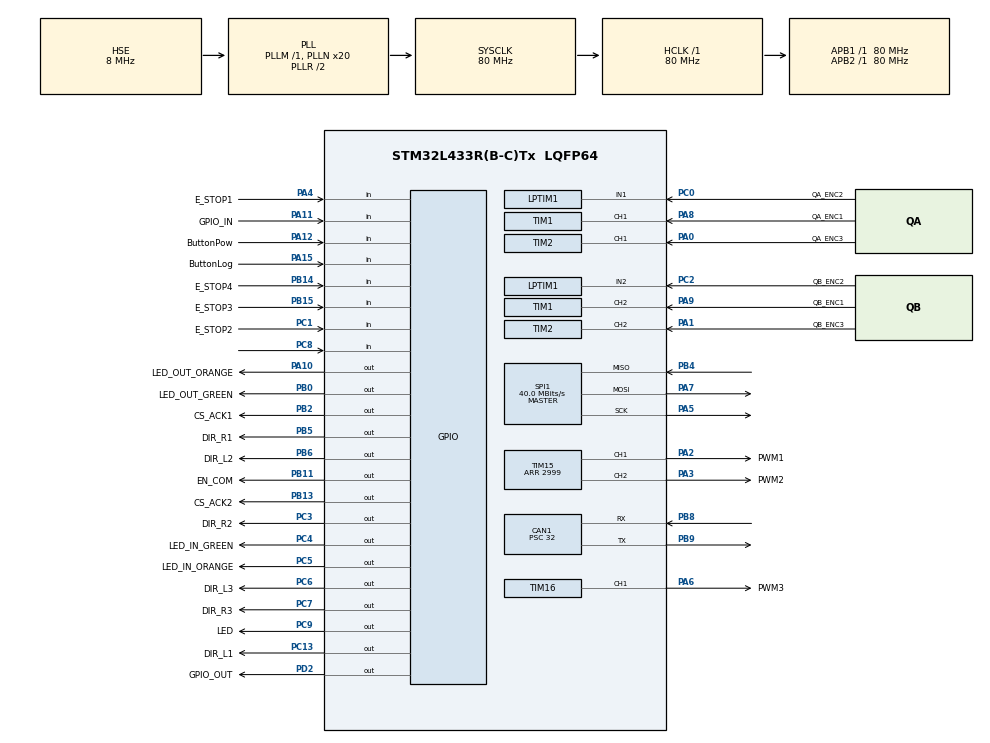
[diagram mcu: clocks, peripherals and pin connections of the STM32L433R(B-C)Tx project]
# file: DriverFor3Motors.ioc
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CAN1.ABOM=ENABLE
CAN1.BS1=CAN_BS1_3TQ
CAN1.CalculateBaudRate=500000
CAN1.CalculateTimeBit=2000
CAN1.CalculateTimeQuantum=400.0
CAN1.NART=ENABLE
CAN1.Prescaler=32
CAN1.SJW=CAN_SJW_3TQ
LPTIM1.ULPClockPolarity=LPTIM_CLOCKPOLARITY_RISING
LPTIM2.ClockPrescaler=LPTIM_PRESCALER_DIV32
Mcu.Family=STM32L4
Mcu.Name=STM32L433R(B-C)Tx
Mcu.Package=LQFP64
NVIC.CAN1_RX0_IRQn=true\:3\:0\:true\:false\:true\:true\:true\:true
NVIC.CAN1_TX_IRQn=true\:8\:0\:true\:false\:true\:true\:true\:true
NVIC.LPTIM2_IRQn=true\:9\:0\:true\:false\:true\:true\:true\:true
NVIC.PriorityGroup=NVIC_PRIORITYGROUP_4
NVIC.TIM1_UP_TIM16_IRQn=true\:6\:0\:true\:false\:true\:true\:true\:true
NVIC.TIM6_DAC_IRQn=true\:4\:0\:true\:false\:true\:true\:true\:true
NVIC.TIM7_IRQn=true\:5\:0\:true\:false\:true\:true\:true\:true
PA0.GPIO_Label=QA_ENC3
PA0.Signal=S_TIM2_CH1
PA1.GPIO_Label=QB_ENC3
PA1.Signal=S_TIM2_CH2
PA10.GPIO_Label=LED_OUT_ORANGE
PA10.Signal=GPIO_Output
PA11.GPIO_Label=GPIO_IN
PA11.Signal=GPIO_Input
PA12.GPIO_Label=ButtonPow
PA12.Signal=GPIO_Input
PA13\ (JTMS-SWDIO).Signal=SYS_JTMS-SWDIO
PA14\ (JTCK-SWCLK).Signal=SYS_JTCK-SWCLK
PA15\ (JTDI).GPIO_Label=ButtonLog
PA15\ (JTDI).Signal=GPIO_Input
PA2.GPIO_Label=PWM1
PA2.Signal=S_TIM15_CH1
PA3.GPIO_Label=PWM2
PA3.Signal=S_TIM15_CH2
PA4.GPIO_Label=E_STOP1
PA4.Signal=GPIO_Input
PA5.Mode=Full_Duplex_Master
PA5.Signal=SPI1_SCK
PA6.GPIO_Label=PWM3
PA6.Signal=S_TIM16_CH1
PA7.Mode=Full_Duplex_Master
PA7.Signal=SPI1_MOSI
PA8.GPIO_Label=QA_ENC1
PA8.Signal=S_TIM1_CH1
PA9.GPIO_Label=QB_ENC1
PA9.Signal=S_TIM1_CH2
PB0.GPIO_Label=LED_OUT_GREEN
PB0.Signal=GPIO_Output
PB11.GPIO_Label=EN_COM
PB11.Signal=GPIO_Output
PB13.GPIO_Label=CS_ACK2
PB13.Signal=GPIO_Output
PB14.GPIO_Label=E_STOP4
PB14.Signal=GPIO_Input
PB15.GPIO_Label=E_STOP3
PB15.Signal=GPIO_Input
PB2.GPIO_Label=CS_ACK1
PB2.Signal=GPIO_Output
PB3\ (JTDO-TRACESWO).Signal=SYS_JTDO-SWO
PB4\ (NJTRST).Mode=Full_Duplex_Master
PB4\ (NJTRST).Signal=SPI1_MISO
PB5.GPIO_Label=DIR_R1
PB5.Signal=GPIO_Output
PB6.GPIO_Label=DIR_L2
PB6.Signal=GPIO_Output
PB8.Mode=CAN_Activate
PB8.Signal=CAN1_RX
PB9.Mode=CAN_Activate
PB9.Signal=CAN1_TX
PC0.GPIO_Label=QA_ENC2
PC0.Mode=Encoder_mode_occur1
PC0.Signal=LPTIM1_IN1
PC1.GPIO_Label=E_STOP2
PC1.Signal=GPIO_Input
PC13.GPIO_Label=DIR_L1 
PC13.Signal=GPIO_Output
PC2.GPIO_Label=QB_ENC2
PC2.Mode=Encoder_mode_occur1
PC2.Signal=LPTIM1_IN2
PC3.GPIO_Label=DIR_R2
PC3.Signal=GPIO_Output
PC4.GPIO_Label=LED_IN_GREEN
PC4.Signal=GPIO_Output
PC5.GPIO_Label=LED_IN_ORANGE
PC5.Signal=GPIO_Output
PC6.GPIO_Label=DIR_L3
PC6.Signal=GPIO_Output
PC7.GPIO_Label=DIR_R3
PC7.Signal=GPIO_Output
PC8.Signal=GPIO_Input
PC9.GPIO_Label=LED
PC9.Signal=GPIO_Output
PD2.GPIO_Label=GPIO_OUT
PD2.Signal=GPIO_Output
PH0-OSC_IN\ (PH0).Mode=HSE-External-Oscillator
PH0-OSC_IN\ (PH0).Signal=RCC_OSC_IN
PH1-OSC_OUT\ (PH1).Mode=HSE-External-Oscillator
PH1-OSC_OUT\ (PH1).Signal=RCC_OSC_OUT
ProjectManager.HeapSize=0x200
ProjectManager.StackSize=0x400
ProjectManager.TargetToolchain=STM32CubeIDE
RCC.ADCFreq_Value=32000000
RCC.AHBFreq_Value=80000000
RCC.APB1Freq_Value=80000000
RCC.APB1TimFreq_Value=80000000
RCC.APB2Freq_Value=80000000
RCC.APB2TimFreq_Value=80000000
RCC.CortexFreq_Value=80000000
RCC.HCLKFreq_Value=80000000
RCC.HSE_VALUE=8000000
RCC.HSI48_VALUE=48000000
RCC.HSI_VALUE=16000000
RCC.LSE_VALUE=32768
RCC.MSI_VALUE=4000000
RCC.PLLN=20
RCC.PLLSourceVirtual=RCC_PLLSOURCE_HSE
RCC.SYSCLKFreq_VALUE=80000000
RCC.SYSCLKSource=RCC_SYSCLKSOURCE_PLLCLK
RCC.USBFreq_Value=32000000
RCC.VCOOutputFreq_Value=160000000
SH.S_TIM15_CH1.0=TIM15_CH1,PWM Generation1 CH1
SH.S_TIM15_CH2.0=TIM15_CH2,PWM Generation2 CH2
SH.S_TIM16_CH1.0=TIM16_CH1,PWM Generation1 CH1
SH.S_TIM1_CH1.0=TIM1_CH1,Encoder_Interface
SH.S_TIM1_CH2.0=TIM1_CH2,Encoder_Interface
SH.S_TIM2_CH1.0=TIM2_CH1,Encoder_Interface
SH.S_TIM2_CH2.0=TIM2_CH2,Encoder_Interface
SPI1.BaudRatePrescaler=SPI_BAUDRATEPRESCALER_2
SPI1.CalculateBaudRate=40.0 MBits/s
SPI1.DataSize=SPI_DATASIZE_8BIT
SPI1.Direction=SPI_DIRECTION_2LINES
SPI1.Mode=SPI_MODE_MASTER
SPI1.VirtualType=VM_MASTER
TIM1.Period=65535
TIM1.Prescaler=0
TIM15.Channel-PWM\ Generation1\ CH1=TIM_CHANNEL_1
TIM15.Channel-PWM\ Generation2\ CH2=TIM_CHANNEL_2
TIM15.Period=2999
TIM16.Channel=TIM_CHANNEL_1
TIM16.Period=2999
TIM6.Period=475
TIM6.Prescaler=13999
TIM7.Period=200
TIM7.Prescaler=1999
VP_LPTIM2_VS_LPTIM_counterModeInternalClock.Mode=Counts__internal_clock_event_00
VP_TIM16_VS_ClockSourceINT.Mode=Enable_Timer
VP_TIM6_VS_ClockSourceINT.Mode=Enable_Timer
VP_TIM7_VS_ClockSourceINT.Mode=Enable_Timer
board=custom

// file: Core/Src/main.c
/* USER CODE BEGIN Header */
/**
  ******************************************************************************
  * @file           : main.c
  * @brief          : Main program body
  ******************************************************************************
  * @attention
  *
  * Copyright (c) 2022 STMicroelectronics.
  * All rights reserved.
  *
  * This software is licensed under terms that can be found in the LICENSE file
  * in the root directory of this software component.
  * If no LICENSE file comes with this software, it is provided AS-IS.
  *
  ******************************************************************************
  */
/* USER CODE END Header */
#include "main.h"
#include "can.h"
#include "lptim.h"
#include "spi.h"
#include "tim.h"
#include "gpio.h"

/* USER CODE BEGIN Includes */
#include <stdbool.h>
#include "Emergency_button.h"
/* USER CODE END Includes */

/* USER CODE BEGIN PV */
extern	CAN_TxHeaderTypeDef   TxHeader;
extern	uint32_t              TxMailbox;

extern	uint8_t ReceivedData;
extern	CAN_FilterTypeDef canfil;

extern	CAN_RxHeaderTypeDef   RxHeader;
extern	uint8_t RxData[8];

extern uint8_t estop;

volatile uint8_t Status = 0;
volatile uint8_t breakActivition = 0;

uint8_t switchForGovernors = 0;
uint8_t driver_encoderStatus = 0;
volatile uint8_t measurementTrigger[5]={0};

volatile uint8_t CAN_state = 0;
volatile uint8_t CAN_MainState = 0;
uint8_t CANsendingState = 0;
volatile uint8_t messageConfirmation=0;

struct PI governorMechanicPart_FIRST = {0};
struct PI *mechanicPI_FIRST = &governorMechanicPart_FIRST;

struct PI governorMechanicPart_SECOND = {0};
struct PI *mechanicPI_SECOND = &governorMechanicPart_SECOND;

struct PI governorMechanicPart_THIRD = {0};
struct PI *mechanicPI_THIRD = &governorMechanicPart_THIRD;

volatile bool isConnecting = false;
volatile uint16_t cnt_connecting = 0;

volatile uint8_t prev_velocity_cnt = 0;
volatile uint8_t velocity_cnt = 1;

volatile uint8_t tab_id[20];
volatile uint8_t test_id[20];
/*10Hz*/
uint32_t wait;
uint8_t* ptrFloat;
uint8_t  TxData[8];

uint16_t test = 0;
float test_velocity = 0;
float parameter_rpm_scale = 0;
float parameter_rpm_scale_en = 0;
uint8_t type_of_set_pwm = 0;
float parameter_motor_vel_A[NUMBER_OF_PARAMETERS] = {0};
float parameter_motor_vel_B[NUMBER_OF_PARAMETERS] = {0};
float parameter_motor_vel_C[NUMBER_OF_PARAMETERS] = {0};

//uint16_t precision;
uint32_t test_data[6];
uint32_t error_num[51];
/* USER CODE END PV */

void SystemClock_Config(void);

/* USER CODE BEGIN 0 */
void HAL_CAN_RxFifo0MsgPendingCallback(CAN_HandleTypeDef *hcan);

uint8_t Error_check(){
	uint8_t error = ERROR_OK;
	if(parameter_rpm_scale == 0){
		error = ERROR_NO_INIT;
	}
	if(parameter_rpm_scale_en == 0){
		error = ERROR_NO_INIT;
	}
	if(error == ERROR_NO_INIT){
		measurementTrigger[0] = 1;
	}
	return error;
}

struct NewStruct{
	uint8_t RData : 8;
	float temp;
} __attribute__((packed));

union toFloat{
	uint8_t data[8];
	struct NewStruct unitVar;
};
//void TestDataIncrement(void){
//	if(test_data[0] == 0xFFFFFFFF){
//		test_data[0] = 0;
//		test_data[1]++;
//	}else{
//		test_data[0]++;
//	}
//}

//#ifdef RIGHT
//void HAL_LPTIM_AutoReloadMatchCallback(LPTIM_HandleTypeDef *hlptim){ //testowe cykliczne wiadomości
//	if(hlptim == &hlptim2){
//		TxHeader.DLC = 8;
//		TxHeader.StdId = TEST_ID;
//		//test_data[0] = 5000;
//		TxData[0] = (uint8_t)test_data[0];
//		TxData[1] = (uint8_t)(test_data[0] >> 8);
//		TxData[2] = (uint8_t)(test_data[0] >> 16);
//		TxData[3] = (uint8_t)(test_data[0] >> 24);
//		TxData[4] = (uint8_t)test_data[1];
//		TxData[5] = (uint8_t)(test_data[1] >> 8);
//		TxData[6] = (uint8_t)(test_data[1] >> 16);
//		TxData[7] = (uint8_t)(test_data[1] >> 24);
//		if(HAL_CAN_AddTxMessage(&hcan1, &TxHeader, TxData, &TxMailbox)!= HAL_OK){
//			test_data[3]++;
//		}
//		 __asm("NOP");__asm("NOP");__asm("NOP");__asm("NOP");__asm("NOP");
//		 __asm("NOP");__asm("NOP");__asm("NOP");__asm("NOP");__asm("NOP");
//		TestDataIncrement();
//	}
//}
//void HAL_CAN_TxMailbox0CompleteCallback(CAN_HandleTypeDef *hcan){
//	test_data[2]++;
//}
//void HAL_CAN_TxMailbox1CompleteCallback(CAN_HandleTypeDef *hcan){
//	test_data[2]++;
//}
//void HAL_CAN_TxMailbox2CompleteCallback(CAN_HandleTypeDef *hcan){
//	test_data[2]++;
//}
//
//void HAL_CAN_TxMailbox0AbortCallback(CAN_HandleTypeDef *hcan){
//	test_data[3]++;
//}
//void HAL_CAN_TxMailbox1AbortCallback(CAN_HandleTypeDef *hcan){
//	test_data[3]++;
//}
//void HAL_CAN_TxMailbox2AbortCallback(CAN_HandleTypeDef *hcan){
//	test_data[3]++;
//}
//#endif

/* USER CODE END 0 */

int main(void)
{

  /* MCU Configuration--------------------------------------------------------*/

  /* Reset of all peripherals, Initializes the Flash interface and the Systick. */
  HAL_Init();

  /* Configure the system clock */
  SystemClock_Config();

  /* Initialize all configured peripherals */
  MX_GPIO_Init();
  MX_CAN1_Init();
  MX_SPI1_Init();
  MX_TIM1_Init();
  MX_TIM2_Init();
  MX_TIM6_Init();
  MX_TIM7_Init();
  MX_LPTIM1_Init();
  MX_TIM15_Init();
  MX_TIM16_Init();
  MX_LPTIM2_Init();
  /* USER CODE BEGIN 2 */

	HAL_TIM_Base_Start_IT(&htim6);
	HAL_TIM_Base_Start_IT(&htim7);

	HAL_TIM_Encoder_Start(&htim1, TIM_CHANNEL_ALL);
	HAL_LPTIM_Encoder_Start(&hlptim1, 65535);
	HAL_TIM_Encoder_Start(&htim2, TIM_CHANNEL_ALL);

	HAL_TIM_PWM_Start(&htim15, TIM_CHANNEL_1);
	HAL_TIM_PWM_Start(&htim15, TIM_CHANNEL_2);
	HAL_TIM_PWM_Start(&htim16, TIM_CHANNEL_1);
	test_data[0] = 0;
	test_data[1] = 0;
	test_data[2] = 0;
	test_data[3] = 0;
	test_data[4] = 0;
	test_data[5] = 0;
	error_num[0] = 0;

	//lptim f=2,5M/wartość poniżej

//	HAL_LPTIM_Counter_Start_IT(&hlptim2, 1599); //714

  /* USER CODE END 2 */

  /* Infinite loop */
  while (1)
  {

    /* USER CODE BEGIN 3 */

		if (CheckPowerStatus() == POWER_OFF)
		{
			mechanicPI_FIRST->requireValue =  0;
			mechanicPI_SECOND->requireValue = 0;
			mechanicPI_THIRD->requireValue = 0;
		}
		if(measurementTrigger[0]==1){
			measurementTrigger[0] = 0;
			TxHeader.StdId = ERROR_ID;
			TxHeader.DLC = 3;
			TxData[0] = 0;
			TxData[1] = 0;
			TxData[2] = 0;
//			uint8_t count_no_parameter = 0;
//			for(int i = 0; i < NUMBER_OF_PARAMETERS; i++){
//				if(parameter_motor_vel_C[i] == 0){
//					count_no_parameter++;
//					TxData[0] |= 0x80;
//				}
//			}
//			if(count_no_parameter == NUMBER_OF_PARAMETERS){
//				RxData[2] |= 0xF0;
//			}

			if(parameter_rpm_scale == 0){
				TxData[1] |= 0x01;
				TxData[0] |= 0x10;
			}
			if(parameter_rpm_scale_en == 0){
				TxData[1] |= 0x02;
				TxData[0] |= 0x10;
			}
			if(parameter_rpm_scale == 0 && parameter_rpm_scale_en == 0){
				TxData[1] |= 0x0F;
			}

			 HAL_CAN_AddTxMessage(&hcan1, &TxHeader, TxData, &TxMailbox);
			 __asm("NOP");__asm("NOP");__asm("NOP");__asm("NOP");__asm("NOP");
			 __asm("NOP");__asm("NOP");__asm("NOP");__asm("NOP");__asm("NOP");
			TxHeader.DLC = 8;

		}

		if(measurementTrigger[5]==1){//nowy format
			measurementTrigger[5]=0;
			TxHeader.DLC = 7;
			uint16_t tempVobr;
			float max_rpm;
			max_rpm = ((2 << 15) - 1)/ parameter_rpm_scale_en;
			TxHeader.StdId = DRIVERWHEELVEL_ID;
			if(mechanicPI_THIRD->Vobr < max_rpm || mechanicPI_SECOND->Vobr < max_rpm || mechanicPI_FIRST->Vobr < max_rpm){
				tempVobr = (uint16_t)(mechanicPI_THIRD->Vobr * parameter_rpm_scale_en * (mechanicPI_THIRD->Vobr < 0 ? -1: 1));
				TxData[6] = 0x7F & (uint8_t)(tempVobr >> 8);
				TxData[5] = (uint8_t)(tempVobr);
				if(mechanicPI_THIRD->Vobr < 0){//dir
					TxData[6] |= 0x80;
				}
				tempVobr = (uint16_t)(mechanicPI_SECOND->Vobr * parameter_rpm_scale_en * (mechanicPI_SECOND->Vobr < 0 ? -1: 1));
				TxData[4] = 0x7F & (uint8_t)(tempVobr >> 8);
				TxData[3] = (uint8_t)(tempVobr);
				if(mechanicPI_SECOND->Vobr < 0){//dir
					TxData[4] |= 0x80;
				}
				tempVobr = (uint16_t)(mechanicPI_FIRST->Vobr * parameter_rpm_scale_en * (mechanicPI_FIRST->Vobr < 0 ? -1: 1));
				TxData[2] = 0x7F & (uint8_t)(tempVobr >> 8);
				TxData[1] = (uint8_t)(tempVobr);
				if(mechanicPI_FIRST->Vobr < 0){//dir
					TxData[2] |= 0x80;
				}
				TxData[0] = 0;
			}else{
				tempVobr = (uint16_t)(mechanicPI_THIRD->Vobr * parameter_rpm_scale_en / 5 * (mechanicPI_THIRD->Vobr < 0 ? -1: 1));
				TxData[6] = 0x7F & (uint8_t)(tempVobr >> 8);
				TxData[5] = (uint8_t)(tempVobr);
				if(mechanicPI_THIRD->Vobr < 0){//dir
				TxData[6] |= 0x80;
				}
				tempVobr = (uint16_t)(mechanicPI_SECOND->Vobr * parameter_rpm_scale_en / 5 * (mechanicPI_SECOND->Vobr < 0 ? -1: 1));
				TxData[4] = 0x7F & (uint8_t)(tempVobr >> 8);
				TxData[3] = (uint8_t)(tempVobr);
				if(mechanicPI_SECOND->Vobr < 0){//dir
					TxData[4] |= 0x80;
				}
				tempVobr = (uint16_t)(mechanicPI_FIRST->Vobr * parameter_rpm_scale_en / 5 * (mechanicPI_FIRST->Vobr < 0 ? -1: 1));
				TxData[2] = 0x7F & (uint8_t)(tempVobr >> 8);
				TxData[1] = (uint8_t)(tempVobr);
				if(mechanicPI_FIRST->Vobr < 0){//dir
					TxData[2] |= 0x80;
				}
				TxData[0] = 0x01;
			}
			 HAL_CAN_AddTxMessage(&hcan1, &TxHeader, TxData, &TxMailbox);
			 __asm("NOP");__asm("NOP");__asm("NOP");__asm("NOP");__asm("NOP");
			 __asm("NOP");__asm("NOP");__asm("NOP");__asm("NOP");__asm("NOP");
			 TxHeader.DLC = 8;
		}

//		if(measurementTrigger[0]==1){
//
//			uint8_t  TxData[8] = {};
//			uint8_t* ptrFloat = NULL;
//			measurementTrigger[0]=0;
//
//			ptrFloat =(uint8_t*)&(mechanicPI_FIRST->Vobr);
//
//			TxHeader.StdId = DRIVERWHEEL1VEL;
//			TxData[0] = *(ptrFloat);
//			TxData[1] = *(ptrFloat+1);
//			TxData[2] = *(ptrFloat+2);
//			TxData[3] = *(ptrFloat+3);
//			TxData[4] = 0;
//			TxData[5] = 0;
//			TxData[6] = 0;
//			TxData[7] = 0;
//			HAL_CAN_AddTxMessage(&hcan1, &TxHeader, TxData, &TxMailbox);
//			__asm("NOP");__asm("NOP");__asm("NOP");__asm("NOP");__asm("NOP");
//			__asm("NOP");__asm("NOP");__asm("NOP");__asm("NOP");__asm("NOP");
//
//
//			 HAL_GPIO_TogglePin(LED_GPIO_Port, LED_Pin);
//		}
//
//		if(measurementTrigger[1]==1){
//
//			uint8_t  TxData[8] = {};
//			uint8_t* ptrFloat = NULL;
//			measurementTrigger[1]=0;
//
//			ptrFloat = (uint8_t*)&(mechanicPI_SECOND->Vobr);
//
//			TxHeader.StdId = DRIVERWHEEL2VEL;
//			TxData[0] = *(ptrFloat);
//			TxData[1] = *(ptrFloat+1);
//			TxData[2] = *(ptrFloat+2);
//			TxData[3] = *(ptrFloat+3);
//			TxData[4] = 0;
//			TxData[5] = 0;
//			TxData[6] = 0;
//			TxData[7] = 0;
//			test_velocity +=1;
//			HAL_CAN_AddTxMessage(&hcan1, &TxHeader, TxData, &TxMailbox);
//			__asm("NOP");__asm("NOP");__asm("NOP");__asm("NOP");__asm("NOP");
//			__asm("NOP");__asm("NOP");__asm("NOP");__asm("NOP");__asm("NOP");
//
//		}
//
//		if(measurementTrigger[2]==1){
//
//			uint8_t  TxData[8] = {};
//			uint8_t* ptrFloat = NULL;
//			measurementTrigger[2]=0;
//
//			ptrFloat = (uint8_t*)&(mechanicPI_THIRD->Vobr);
//			TxHeader.StdId = DRIVERWHEEL3VEL;
//			TxData[0] = *(ptrFloat);
//			TxData[1] = *(ptrFloat+1);
//			TxData[2] = *(ptrFloat+2);
//			TxData[3] = *(ptrFloat+3);
//			TxData[4] = 0;
//			TxData[5] = 0;
//			TxData[6] = 0;
//			TxData[7] = 0;
//			HAL_CAN_AddTxMessage(&hcan1, &TxHeader, TxData, &TxMailbox);
//			__asm("NOP");__asm("NOP");__asm("NOP");__asm("NOP");__asm("NOP");
//			__asm("NOP");__asm("NOP");__asm("NOP");__asm("NOP");__asm("NOP");
//
//		}
//
//		if(measurementTrigger[3]==1){
//
//			measurementTrigger[3]=0;
//			uint8_t buttonStatus = CheckPowerStatus();
//
//			TxHeader.StdId = MUSHROOMSTOPVALUE;
//			TxData[0] = buttonStatus;
//			TxData[1] = 0;
//			TxData[2] = 0;
//			TxData[3] = 0;
//			TxData[4] = 0;
//			TxData[5] = 0;
//			TxData[6] = 0;
//			TxData[7] = 0;
//			HAL_CAN_AddTxMessage(&hcan1, &TxHeader, TxData, &TxMailbox);
//			__asm("NOP");__asm("NOP");__asm("NOP");__asm("NOP");__asm("NOP");
//			__asm("NOP");__asm("NOP");__asm("NOP");__asm("NOP");__asm("NOP");
//
//		}

  /* USER CODE END 3 */
  }
}
void SystemClock_Config(void)
{
  RCC_OscInitTypeDef RCC_OscInitStruct = {0};
  RCC_ClkInitTypeDef RCC_ClkInitStruct = {0};

  /** Configure the main internal regulator output voltage
  */
  if (HAL_PWREx_ControlVoltageScaling(PWR_REGULATOR_VOLTAGE_SCALE1) != HAL_OK)
  {
    Error_Handler();
  }

  /** Initializes the RCC Oscillators according to the specified parameters
  * in the RCC_OscInitTypeDef structure.
  */
  RCC_OscInitStruct.OscillatorType = RCC_OSCILLATORTYPE_HSE;
  RCC_OscInitStruct.HSEState = RCC_HSE_ON;
  RCC_OscInitStruct.PLL.PLLState = RCC_PLL_ON;
  RCC_OscInitStruct.PLL.PLLSource = RCC_PLLSOURCE_HSE;
  RCC_OscInitStruct.PLL.PLLM = 1;
  RCC_OscInitStruct.PLL.PLLN = 20;
  RCC_OscInitStruct.PLL.PLLP = RCC_PLLP_DIV7;
  RCC_OscInitStruct.PLL.PLLQ = RCC_PLLQ_DIV2;
  RCC_OscInitStruct.PLL.PLLR = RCC_PLLR_DIV2;
  if (HAL_RCC_OscConfig(&RCC_OscInitStruct) != HAL_OK)
  {
    Error_Handler();
  }

  /** Initializes the CPU, AHB and APB buses clocks
  */
  RCC_ClkInitStruct.ClockType = RCC_CLOCKTYPE_HCLK|RCC_CLOCKTYPE_SYSCLK
                              |RCC_CLOCKTYPE_PCLK1|RCC_CLOCKTYPE_PCLK2;
  RCC_ClkInitStruct.SYSCLKSource = RCC_SYSCLKSOURCE_PLLCLK;
  RCC_ClkInitStruct.AHBCLKDivider = RCC_SYSCLK_DIV1;
  RCC_ClkInitStruct.APB1CLKDivider = RCC_HCLK_DIV1;
  RCC_ClkInitStruct.APB2CLKDivider = RCC_HCLK_DIV1;

  if (HAL_RCC_ClockConfig(&RCC_ClkInitStruct, FLASH_LATENCY_4) != HAL_OK)
  {
    Error_Handler();
  }
}

/* USER CODE BEGIN 4 */

void HAL_CAN_RxFifo0MsgPendingCallback(CAN_HandleTypeDef *hcan){
			static int cnt_test = 0;

		  if (HAL_CAN_GetRxMessage(&hcan1, CAN_RX_FIFO0, &RxHeader, RxData) != HAL_OK)
		  {
			Error_Handler();
		  }

		  isConnecting = true;
		  cnt_connecting= 0;
//#ifdef LEFT
//		  if((RxHeader.StdId == TEST_ID)){
//			  test_data[4] = test_data[5];
//			  test_data[5] = ((uint32_t)RxData[3] << 24)+((uint32_t)RxData[2] << 16)+((uint32_t)RxData[1] << 8)+((uint32_t)RxData[0]);
//			  if((test_data[5] - test_data[4]) != 1){
//				  error_num[0]++;
//				  if(error_num[0] <= 50){
//					  error_num[error_num[0]] = test_data[5];
//				  }
//			  }
//		  }
//#endif
	  if ((RxHeader.StdId == CONTROLVEL_ID)) {
		  ReceivedData = 1;

	  }

		if (RxHeader.StdId == CONTROLVEL_ID){
			if(Error_check() == ERROR_OK) {
				if((RxData[0] & 0x03) == 0){
					type_of_set_pwm = TYPE_SET_RPM;
					mechanicPI_FIRST->requireValue = (RxData[1] & 0x80? 1 : -1)*((float)((RxData[0] & 0xF0 >> 4)|((uint16_t)(RxData[1] & 0x7F) << 4)))/parameter_rpm_scale; //new
					// znak - 7bit 1bajt dane - 0-6bit 1bajt + 4-7bit 0bajt
					mechanicPI_SECOND->requireValue = (RxData[3] & 0x08? 1 : -1)*((float)((RxData[2])|((uint16_t)(RxData[3] & 0x07) << 8)))/parameter_rpm_scale; //new
					// znak - 3bit 3bajt dane - 0-2bit 3bajt + caly 2bajt
					mechanicPI_THIRD->requireValue = (RxData[4] & 0x80? 1 : -1)*((float)((RxData[3] & 0xF0 >> 4)|((uint16_t)(RxData[4] & 0x7F) << 4)))/parameter_rpm_scale;//new
					// znak - 7bit 4bajt dane - 0-6bit 4bajt + 4-7bit 3bajt
				}
				if((RxData[0] & 0x03) == 3){
					type_of_set_pwm = TYPE_SET_PWM;
					//rzeźba do poprawy na strukurach
					mechanicPI_FIRST->PWM = (float)((uint16_t)((RxData[0] & 0xF0) >> 4)|((uint16_t)(RxData[1] & 0x7F))<< 4)* (RxData[1] & 0x80? -1 : 1) /2047;
					mechanicPI_SECOND->PWM = (float)((RxData[2])|((uint16_t)(RxData[3] & 0x07) << 8))* (RxData[3] & 0x08? -1 : 1) /2047;
					mechanicPI_THIRD->PWM = (float)((uint16_t)((RxData[3] & 0xF0) >> 4)|((uint16_t)(RxData[4] & 0x7F) << 4))*(RxData[4] & 0x80? -1 : 1) /2047;
				}

				velocity_cnt = RxData[7];
				tab_id[cnt_test] = RxData[7];
				test_id[cnt_test] = RxHeader.StdId;
				cnt_test++;
				if (cnt_test == 19) cnt_test = 0;

	#ifdef RIGHT
				mechanicPI_FIRST->requireValue = -mechanicPI_FIRST->requireValue;
				mechanicPI_SECOND->requireValue = -mechanicPI_SECOND->requireValue;
				mechanicPI_THIRD->requireValue = -mechanicPI_THIRD->requireValue;
	#endif

				if( prev_velocity_cnt == velocity_cnt)
				{
					mechanicPI_FIRST->requireValue =  0;
					mechanicPI_SECOND->requireValue = 0;
					mechanicPI_THIRD->requireValue = 0;
				}

				prev_velocity_cnt = velocity_cnt;
				velocity_cnt = 0;

				Status = ACTIVE;
			}
		}
		if(RxHeader.StdId == INIT_ID){
			//float temp = (float)(((uint32_t)(RxData[4])<<24)|((uint32_t)(RxData[3])<<16)|((uint32_t)(RxData[2])<<8)|((uint32_t)(RxData[1])));
		 	union toFloat temp;
		 	for(int i =0 ;i < 8; i++){
		 		temp.data[i] = RxData[i];
		 	}

			if(RxData[0] == 0x10){
					parameter_rpm_scale = temp.unitVar.temp;
				}
				if(RxData[0] == 0x11){
					parameter_rpm_scale_en = temp.unitVar.temp;
				}
//			switch (RxData[0]| 0xF0){//nie działa switch
//			case 0x10:
//
//				break;
//			case 0x20:
//				if((RxData[0] | 0x0F) < NUMBER_OF_PARAMETERS){
//					parameter_motor_vel_A[RxData[0] | 0x0F] = temp;
//				}
//				break;
//			case 0x30:
//				if((RxData[0] | 0x0F) < NUMBER_OF_PARAMETERS){
//				parameter_motor_vel_B[RxData[0] | 0x0F] = temp;
//				}
//				break;
//			case 0x40:
//				if((RxData[0] | 0x0F) < NUMBER_OF_PARAMETERS){
//				parameter_motor_vel_C[RxData[0] | 0x0F] = temp;
//				}
//				break;
//			}
			if(RxData[0] == 0x00){//deinit
				parameter_rpm_scale = 0;
				parameter_rpm_scale_en = 0;
				for(int i = 0; i < NUMBER_OF_PARAMETERS; i++){
					parameter_motor_vel_A[i] = 0;
					parameter_motor_vel_B[i] = 0;
					parameter_motor_vel_C[i] = 0;
				}

			}

		}

		if(RxHeader.StdId == ERROR_ID && RxHeader.RTR == CAN_RTR_REMOTE){
			measurementTrigger[0]=1;
		}
		if (RxHeader.StdId == DRIVERWHEELVEL_ID && RxHeader.RTR == CAN_RTR_REMOTE){
			if(Error_check() == ERROR_OK) {
				measurementTrigger[5]=1;
			}
		}
		if(RxHeader.StdId == DRIVERWHEELVEL_ID && RxHeader.RTR == CAN_RTR_REMOTE){
			if(Error_check() == ERROR_OK) {

			}
		}

		if (RxHeader.StdId == 128){ // 0x80b
			messageConfirmation=1;
		}

	#ifdef LEFT
//		if (RxHeader.StdId == MUSHROOMSTOPREQUEST){
//			measurementTrigger[3]=1;
//		}
//
//		if (RxHeader.StdId == ID_BUTTONREQUEST){
//			measurementTrigger[4]=1;
//		}
	#endif

	//#ifdef RIGHT
	//	if (RxHeader.StdId == MUSHROOMSTOPVALUE){
	//		if(RxData[0]==1)
	//		{
	//			mechanicPI_FIRST->requireValue =  0;
	//			mechanicPI_SECOND->requireValue = 0;
	//			mechanicPI_THIRD->requireValue = 0;
	//		}
	//	}
	//#endif
	}

/* USER CODE END 4 */

void Error_Handler(void)
{
  __disable_irq();
  while (1)
  {
  }
}
